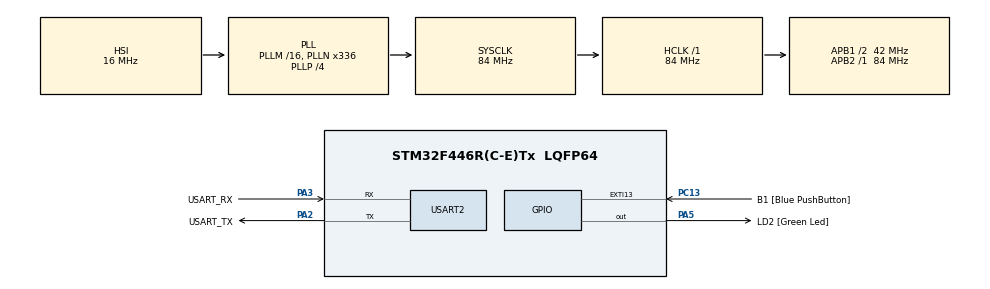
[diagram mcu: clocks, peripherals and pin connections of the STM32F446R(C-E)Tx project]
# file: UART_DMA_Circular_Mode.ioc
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Dma.Request0=USART2_RX
Dma.USART2_RX.0.Direction=DMA_PERIPH_TO_MEMORY
Dma.USART2_RX.0.FIFOMode=DMA_FIFOMODE_DISABLE
Dma.USART2_RX.0.Instance=DMA1_Stream5
Dma.USART2_RX.0.MemDataAlignment=DMA_MDATAALIGN_BYTE
Dma.USART2_RX.0.MemInc=DMA_MINC_ENABLE
Dma.USART2_RX.0.Mode=DMA_CIRCULAR
Dma.USART2_RX.0.PeriphDataAlignment=DMA_PDATAALIGN_BYTE
Dma.USART2_RX.0.PeriphInc=DMA_PINC_DISABLE
Dma.USART2_RX.0.Priority=DMA_PRIORITY_LOW
Mcu.Family=STM32F4
Mcu.Name=STM32F446R(C-E)Tx
Mcu.Package=LQFP64
NVIC.DMA1_Stream5_IRQn=true\:0\:0\:false\:false\:true\:false\:true\:true
NVIC.PriorityGroup=NVIC_PRIORITYGROUP_0
PA13.GPIO_Label=TMS
PA13.Mode=Serial_Wire
PA13.Signal=SYS_JTMS-SWDIO
PA14.GPIO_Label=TCK
PA14.Mode=Serial_Wire
PA14.Signal=SYS_JTCK-SWCLK
PA2.GPIO_Label=USART_TX
PA2.Mode=Asynchronous
PA2.Signal=USART2_TX
PA3.GPIO_Label=USART_RX
PA3.Mode=Asynchronous
PA3.Signal=USART2_RX
PA5.GPIO_Label=LD2 [Green Led]
PA5.Signal=GPIO_Output
PB3.GPIO_Label=SWO
PB3.Signal=SYS_JTDO-SWO
PC13.GPIO_Label=B1 [Blue PushButton]
PC13.GPIO_ModeDefaultEXTI=GPIO_MODE_IT_FALLING
PC13.Signal=GPXTI13
PC14-OSC32_IN.Mode=LSE-External-Oscillator
PC14-OSC32_IN.Signal=RCC_OSC32_IN
PC15-OSC32_OUT.Mode=LSE-External-Oscillator
PC15-OSC32_OUT.Signal=RCC_OSC32_OUT
PH0-OSC_IN.Mode=HSE-External-Oscillator
PH0-OSC_IN.Signal=RCC_OSC_IN
PH1-OSC_OUT.Mode=HSE-External-Oscillator
PH1-OSC_OUT.Signal=RCC_OSC_OUT
ProjectManager.HeapSize=0x200
ProjectManager.StackSize=0x400
ProjectManager.TargetToolchain=STM32CubeIDE
RCC.48MHZClocksFreq_Value=84000000
RCC.AHBFreq_Value=84000000
RCC.APB1CLKDivider=RCC_HCLK_DIV2
RCC.APB1Freq_Value=42000000
RCC.APB1TimFreq_Value=84000000
RCC.APB2Freq_Value=84000000
RCC.APB2TimFreq_Value=84000000
RCC.CortexFreq_Value=84000000
RCC.FLatency-AdvancedSettings=FLASH_LATENCY_2
RCC.HCLKFreq_Value=84000000
RCC.HSE_VALUE=8000000
RCC.HSI_VALUE=16000000
RCC.PLLN=336
RCC.PLLP=RCC_PLLP_DIV4
RCC.SYSCLKFreq_VALUE=84000000
RCC.SYSCLKSource=RCC_SYSCLKSOURCE_PLLCLK
RCC.USBFreq_Value=168000000
RCC.VCOOutputFreq_Value=336000000
USART2.VirtualMode=VM_ASYNC
board=NUCLEO-F446RE

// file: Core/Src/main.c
/* USER CODE BEGIN Header */
/**
  ******************************************************************************
  * @file           : main.c
  * @brief          : Main program body
  ******************************************************************************
  * @attention
  *
  * Copyright (c) 2024 STMicroelectronics.
  * All rights reserved.
  *
  * This software is licensed under terms that can be found in the LICENSE file
  * in the root directory of this software component.
  * If no LICENSE file comes with this software, it is provided AS-IS.
  *
  ******************************************************************************
  */
/* USER CODE END Header */
#include "main.h"

UART_HandleTypeDef huart2;
DMA_HandleTypeDef hdma_usart2_rx;

/* USER CODE BEGIN PV */
uint8_t RxData[256];
uint8_t FinalBuf[4096];

int HTC = 0, FTC = 0;
uint32_t indx=0;

int isSizeRxed = 0;
uint32_t size=0;
/* USER CODE END PV */

void SystemClock_Config(void);
static void MX_GPIO_Init(void);
static void MX_DMA_Init(void);
static void MX_USART2_UART_Init(void);

int main(void)
{

  /* MCU Configuration--------------------------------------------------------*/

  /* Reset of all peripherals, Initializes the Flash interface and the Systick. */
  HAL_Init();

  /* Configure the system clock */
  SystemClock_Config();

  /* Initialize all configured peripherals */
  MX_GPIO_Init();
  MX_DMA_Init();
  MX_USART2_UART_Init();
  /* USER CODE BEGIN 2 */
  HAL_UART_Receive_DMA(&huart2, RxData, 256);
  /* USER CODE END 2 */

  /* Infinite loop */
  while (1)
  {
    /* USER CODE BEGIN 3 */
	  if (((size-indx)>0) && ((size-indx)<128))
	  	{
	  	  if (HTC==1)
	  	  {
	  	        strcpy((char *)FinalBuf+indx, (char *)RxData+128);  // memcpy (FinalBuf+indx, RxData+128, (size-indx));
	  	        indx = size;
	  	        isSizeRxed = 0;
	  	        HTC = 0;
	  	        HAL_UART_DMAStop(&huart2);
	  	        HAL_UART_Receive_DMA(&huart2, RxData, 256);
	  	  }
	  	  else if (FTC==1)
	  	  {
	  	       strcpy((char *)FinalBuf+indx, (char *)RxData);  // memcpy (FinalBuf+indx, RxData, (size-indx));
	  	       indx = size;
	  	       isSizeRxed = 0;
	  	       FTC = 0;
	  	       HAL_UART_DMAStop(&huart2);
	  	       HAL_UART_Receive_DMA(&huart2, RxData, 256);
	  	  }
	  }
	  else if ((indx == size) && ((HTC==1)||(FTC==1)))
	  {
	  		  isSizeRxed = 0;
	  		  HTC = 0;
	  		  FTC = 0;
	  		  HAL_UART_DMAStop(&huart2);
	  		  HAL_UART_Receive_DMA(&huart2, RxData, 256);
	  }
  /* USER CODE END 3 */
    }
}

void SystemClock_Config(void)
{
  RCC_OscInitTypeDef RCC_OscInitStruct = {0};
  RCC_ClkInitTypeDef RCC_ClkInitStruct = {0};

  /** Configure the main internal regulator output voltage
  */
  __HAL_RCC_PWR_CLK_ENABLE();
  __HAL_PWR_VOLTAGESCALING_CONFIG(PWR_REGULATOR_VOLTAGE_SCALE3);

  /** Initializes the RCC Oscillators according to the specified parameters
  * in the RCC_OscInitTypeDef structure.
  */
  RCC_OscInitStruct.OscillatorType = RCC_OSCILLATORTYPE_HSI;
  RCC_OscInitStruct.HSIState = RCC_HSI_ON;
  RCC_OscInitStruct.HSICalibrationValue = RCC_HSICALIBRATION_DEFAULT;
  RCC_OscInitStruct.PLL.PLLState = RCC_PLL_ON;
  RCC_OscInitStruct.PLL.PLLSource = RCC_PLLSOURCE_HSI;
  RCC_OscInitStruct.PLL.PLLM = 16;
  RCC_OscInitStruct.PLL.PLLN = 336;
  RCC_OscInitStruct.PLL.PLLP = RCC_PLLP_DIV4;
  RCC_OscInitStruct.PLL.PLLQ = 2;
  RCC_OscInitStruct.PLL.PLLR = 2;
  if (HAL_RCC_OscConfig(&RCC_OscInitStruct) != HAL_OK)
  {
    Error_Handler();
  }

  /** Initializes the CPU, AHB and APB buses clocks
  */
  RCC_ClkInitStruct.ClockType = RCC_CLOCKTYPE_HCLK|RCC_CLOCKTYPE_SYSCLK
                              |RCC_CLOCKTYPE_PCLK1|RCC_CLOCKTYPE_PCLK2;
  RCC_ClkInitStruct.SYSCLKSource = RCC_SYSCLKSOURCE_PLLCLK;
  RCC_ClkInitStruct.AHBCLKDivider = RCC_SYSCLK_DIV1;
  RCC_ClkInitStruct.APB1CLKDivider = RCC_HCLK_DIV2;
  RCC_ClkInitStruct.APB2CLKDivider = RCC_HCLK_DIV1;

  if (HAL_RCC_ClockConfig(&RCC_ClkInitStruct, FLASH_LATENCY_2) != HAL_OK)
  {
    Error_Handler();
  }
}

static void MX_USART2_UART_Init(void)
{

  huart2.Instance = USART2;
  huart2.Init.BaudRate = 115200;
  huart2.Init.WordLength = UART_WORDLENGTH_8B;
  huart2.Init.StopBits = UART_STOPBITS_1;
  huart2.Init.Parity = UART_PARITY_NONE;
  huart2.Init.Mode = UART_MODE_TX_RX;
  huart2.Init.HwFlowCtl = UART_HWCONTROL_NONE;
  huart2.Init.OverSampling = UART_OVERSAMPLING_16;
  if (HAL_UART_Init(&huart2) != HAL_OK)
  {
    Error_Handler();
  }

}

static void MX_DMA_Init(void)
{

  /* DMA controller clock enable */
  __HAL_RCC_DMA1_CLK_ENABLE();

  /* DMA interrupt init */
  /* DMA1_Stream5_IRQn interrupt configuration */
  HAL_NVIC_SetPriority(DMA1_Stream5_IRQn, 0, 0);
  HAL_NVIC_EnableIRQ(DMA1_Stream5_IRQn);

}

static void MX_GPIO_Init(void)
{
  GPIO_InitTypeDef GPIO_InitStruct = {0};

  /* GPIO Ports Clock Enable */
  __HAL_RCC_GPIOC_CLK_ENABLE();
  __HAL_RCC_GPIOH_CLK_ENABLE();
  __HAL_RCC_GPIOA_CLK_ENABLE();
  __HAL_RCC_GPIOB_CLK_ENABLE();

  /*Configure GPIO pin Output Level */
  HAL_GPIO_WritePin(LD2_GPIO_Port, LD2_Pin, GPIO_PIN_RESET);

  /*Configure GPIO pin : B1_Pin */
  GPIO_InitStruct.Pin = B1_Pin;
  GPIO_InitStruct.Mode = GPIO_MODE_IT_FALLING;
  GPIO_InitStruct.Pull = GPIO_NOPULL;
  HAL_GPIO_Init(B1_GPIO_Port, &GPIO_InitStruct);

  /*Configure GPIO pin : LD2_Pin */
  GPIO_InitStruct.Pin = LD2_Pin;
  GPIO_InitStruct.Mode = GPIO_MODE_OUTPUT_PP;
  GPIO_InitStruct.Pull = GPIO_NOPULL;
  GPIO_InitStruct.Speed = GPIO_SPEED_FREQ_LOW;
  HAL_GPIO_Init(LD2_GPIO_Port, &GPIO_InitStruct);

}

/* USER CODE BEGIN 4 */
void HAL_UART_RxHalfCpltCallback(UART_HandleTypeDef *huart)
{
	if (isSizeRxed == 0)
	{
		size = ((RxData[0]-48)*100)+((RxData[1]-48)*10)+((RxData[2]-48));  // extract the size
		indx = 0;
		memcpy(FinalBuf+indx, RxData+3, 125);  // copy the data into the main buffer/file
		memset(RxData, '\0', 128);  // clear the RxData buffer
		indx += 125;  // update the indx variable
		isSizeRxed = 1;  // set the variable to 1 so that this loop does not enter again
	}
	else
	{
		memcpy(FinalBuf+indx, RxData, 128);
		memset(RxData, '\0', 128);
		indx += 128;
	}
	HTC=1;  // half transfer complete callback was called
	FTC=0;
}
void HAL_UART_RxCpltCallback(UART_HandleTypeDef *huart)
{
	memcpy(FinalBuf+indx, RxData+128, 128);
	memset(RxData+128, '\0', 128);
	indx+=128;
	HTC=0;
	FTC=1;
}
/* USER CODE END 4 */

void Error_Handler(void)
{
  __disable_irq();
  while (1)
  {
  }
}
